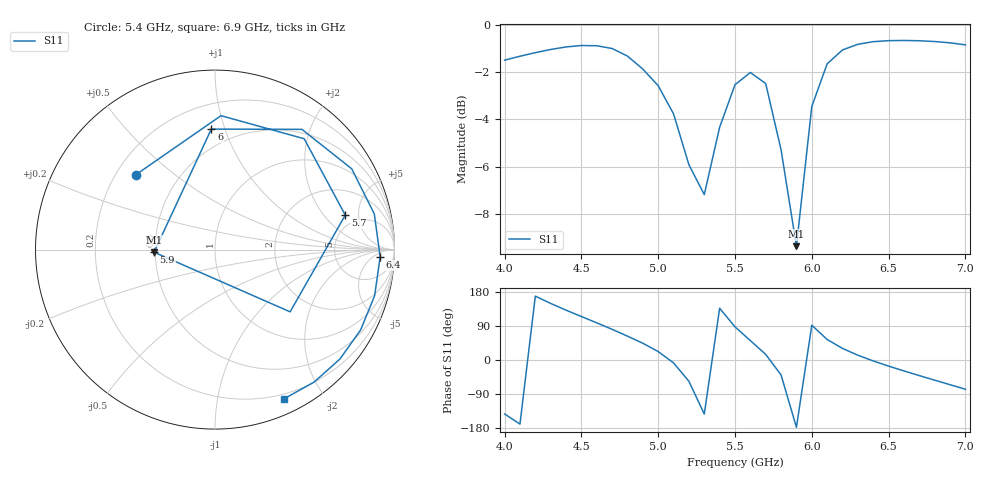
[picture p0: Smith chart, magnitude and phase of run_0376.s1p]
! Touchstone file exported from HFSS 2024.2.0
!  File:  C:/Users/wsak9/Desktop/Sim Fast/Widenad Patch/WP_AI_V1_sweep.aedt
!  Generated:  07:03:37 AM Oct 14, 2026
!  Design:  A1_model
!  Project:  WP_AI_V1_sweep
!  Setup:  Setup1
!  Solution:  Sweep
! Variables:
!  Air_gap = 3.77mm
!  Curve_Amp1 = 3.73
!  Curve_len1 = 1
!  Curve_pos = 10.8mm
!  Extra = 2.84mm
!  H_sub = 0.79mm
!  L_Patch = 17.6mm
!  L_Patch1 = 19.4mm
!  Sx = 0.66mm
!  Sy = 1.38mm
!  WS = 0.83mm
!  W_Patch = 12.48mm
!  W_Patch1 = 16.56mm
!Data is not renormalized
# GHz S MA
! Terminal data exported
! Port[1] = 1
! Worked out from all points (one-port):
!   31 points, 4 GHz to 7 GHz, reference per port
!   lowest |S11| = -9.4 dB at 5.9 GHz (marker M1), VSWR 2.03
!   |S11| at or under -10 dB: nowhere
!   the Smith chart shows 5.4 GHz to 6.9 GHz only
!   S11 on the Smith chart (normalised r, x): 5.4 GHz: 0.28, +0.37; 5.7 GHz: 3.89, +3.43; 5.9 GHz: 0.49, -0.02; 6 GHz: 0.37, +0.90; 6.4 GHz: 19, -10; 6.9 GHz: 0.15, -1.55
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4  0.8418 -142.4
4.1  0.8581 -169.2
4.2  0.8731 168.6
4.4  0.8978 131.6
4.5  0.9041 114.7
4.6  0.9031 98.0
4.7  0.891 80.9
4.8  0.8585 63.0
4.9  0.8059 44.2
5  0.7432 22.2
5.1  0.6476 -7.6
5.2  0.5054 -56.2
5.3  0.437 -142.7
5.4  0.607 136.6
5.5  0.7469 87.4
5.6  0.7927 51.2
5.7  0.7509 14.8
5.8  0.5435 -39.6
5.9  0.3399 -177.6
6  0.6716 91.7
6.1  0.8268 54.1
6.2  0.8849 30.6
6.3  0.9096 12.6
6.4  0.9212 -2.5
6.5  0.9258 -16.1
6.7  0.9253 -41.2
6.9  0.916 -65.2
7  0.907 -77.2
